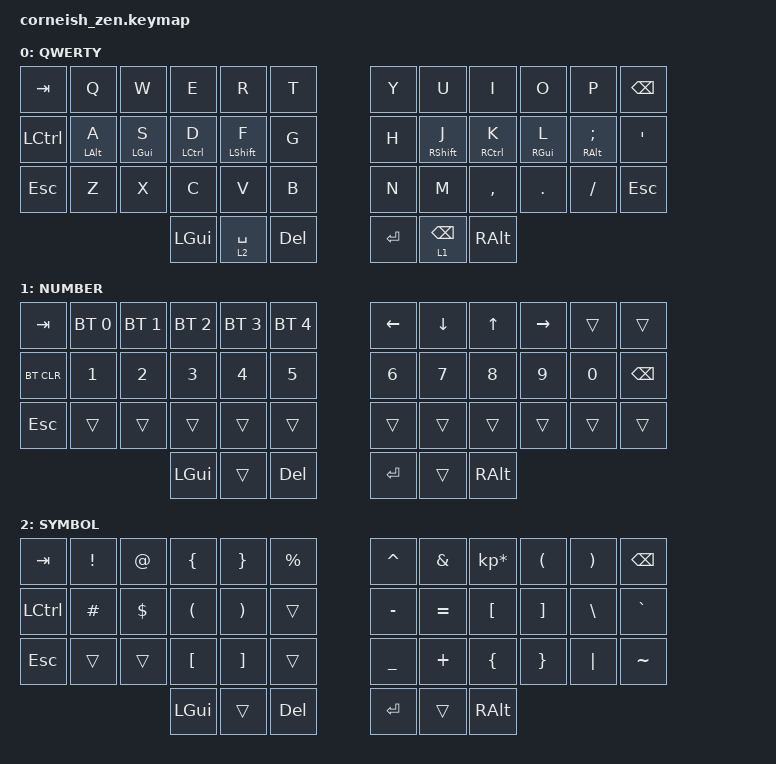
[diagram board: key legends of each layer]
/*
*
* Copyright (c) 2021 Darryl deHaan
* SPDX-License-Identifier: MIT
*
*/

#include <behaviors.dtsi>
#include <dt-bindings/zmk/keys.h>
#include <dt-bindings/zmk/bt.h>

/ {
  chosen {
    zmk,matrix_transform = &default_transform;
    //zmk,matrix_transform = &five_column_transform;
  };
};

/ {
        behaviors {
            hm: homerow_mods {
                compatible = "zmk,behavior-hold-tap";
                label = "HOMEROW_MODS";
                #binding-cells = <2>;
                tapping-term-ms = <150>;
                quick-tap-ms = <0>;
                flavor = "tap-preferred";
                bindings = <&kp>, <&kp>;
            };
        };
        keymap {
                compatible = "zmk,keymap";

                default_layer {
                        label = "QWERTY";
// -----------------------------------------------------------------------------------------
// |  TAB |  Q  |  W  |  E  |  R  |  T  |   |  Y  |  U   |  I  |  O  |  P  | BKSP |
// | CTRL |  A  |  S  |  D  |  F  |  G  |   |  H  |  J   |  K  |  L  |  ;  |  '   |
// | ESC |  Z  |  X  |  C  |  V  |  B  |   |  N  |  M   |  ,  |  .  |  /  | ESC  |
//                    | GUI | LWR | SPC |   | ENT | RSE  | ALT |
                        bindings = <
   &kp TAB   &kp Q &kp W &kp E &kp R &kp T   &kp Y &kp U  &kp I     &kp O   &kp P    &kp BSPC
   &kp LCTRL &hm LALT A &hm LGUI S &hm LCTRL D &hm LSHIFT F &kp G   &kp H &hm RSHIFT J  &hm RCTRL K     &hm RGUI L   &hm RALT SEMI &kp SQT
   &kp ESC &kp Z &kp X &kp C &kp V &kp B   &kp N &kp M  &kp COMMA &kp DOT &kp FSLH &kp ESC
                  &kp LGUI &lt 2 SPACE &kp DEL   &kp RET &lt 1 BSPC &kp RALT
                        >;
                };
                raise_layer {
                        label = "NUMBER";
// -----------------------------------------------------------------------------------------
// | TAB | BT1 | BT2 | BT3 | BT4 | BT5 |   | LFT | DWN |  UP | RGT |     | BKSP |
// | BTCLR |  1  |  2  |  3  |  4  |  5  |   |  6  |  7  |  8  |  9  |  0  |     |
// | ESC |     |     |     |     |     |   |     |     |     |     |     |      |
//                    | GUI |     | SPC |   | ENT |     | ALT |
                        bindings = <
   &kp TAB &bt BT_SEL 0 &bt BT_SEL 1 &bt BT_SEL 2 &bt BT_SEL 3 &bt BT_SEL 4   &kp LEFT &kp DOWN &kp UP &kp RIGHT &trans &trans
   &bt BT_CLR &kp N1       &kp N2       &kp N3       &kp N4       &kp N5         &kp N6   &kp N7   &kp N8 &kp N9    &kp N0 &kp BSPC
   &kp ESC  &trans       &trans       &trans       &trans       &trans         &trans   &trans   &trans &trans    &trans &trans
                          	        &kp LGUI     &trans       &kp DEL      &kp RET  &trans   &kp RALT
                        >;
                };

                lower_layer {
                        label = "SYMBOL";
// -----------------------------------------------------------------------------------------
// |  TAB |  !  |  @  |  #  |  $  |  %  |   |  ^  |  &  |  *  |  (  |  )  | BKSP |
// | CTRL |     |     |     |     |     |   |  -  |  =  |  [  |  ]  |  \  |  `   |
// | ESC |     |     |     |     |     |   |  _  |  +  |  {  |  }  | "|" |  ~   |
//                    | GUI |     | SPC |   | ENT |     | ALT |
                        bindings = <
   &kp  TAB  &kp EXCL &kp AT &kp LBRC &kp RBRC &kp PRCNT   &kp CARET &kp AMPS  &kp KP_MULTIPLY &kp LPAR &kp RPAR &kp BSPC
   &kp LCTRL &kp HASH  &kp DLLR &kp LPAR   &kp RPAR   &trans      &kp MINUS &kp EQUAL &kp LBKT        &kp RBKT &kp BSLH &kp GRAVE
   &kp ESC &trans   &trans &kp LBKT   &kp RBKT   &trans      &kp UNDER &kp PLUS  &kp LBRC        &kp RBRC &kp PIPE &kp TILDE
                    	     &kp LGUI &trans   &kp DEL   &kp RET   &trans    &kp RALT
                        >;
                };
        };
};
